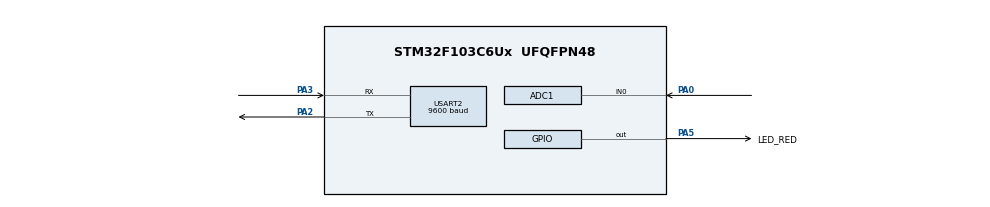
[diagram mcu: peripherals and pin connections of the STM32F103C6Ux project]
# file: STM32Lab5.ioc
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ADC1.Channel-1\#ChannelRegularConversion=ADC_CHANNEL_0
ADC1.ContinuousConvMode=ENABLE
ADC1.NbrOfConversionFlag=1
ADC1.Rank-1\#ChannelRegularConversion=1
ADC1.SamplingTime-1\#ChannelRegularConversion=ADC_SAMPLETIME_1CYCLE_5
ADC1.master=1
ADC2.Channel-1\#ChannelRegularConversion=ADC_CHANNEL_0
ADC2.ContinuousConvMode=ENABLE
ADC2.NbrOfConversionFlag=1
ADC2.Rank-1\#ChannelRegularConversion=1
ADC2.SamplingTime-1\#ChannelRegularConversion=ADC_SAMPLETIME_1CYCLE_5
Mcu.Family=STM32F1
Mcu.Name=STM32F103C6Ux
Mcu.Package=UFQFPN48
NVIC.PriorityGroup=NVIC_PRIORITYGROUP_4
NVIC.TIM2_IRQn=true\:0\:0\:false\:false\:true\:true\:true
NVIC.USART2_IRQn=true\:0\:0\:false\:false\:true\:true\:true
PA0-WKUP.Signal=ADCx_IN0
PA2.Mode=Asynchronous
PA2.Signal=USART2_TX
PA3.Mode=Asynchronous
PA3.Signal=USART2_RX
PA5.GPIO_Label=LED_RED
PA5.Signal=GPIO_Output
ProjectManager.HeapSize=0x200
ProjectManager.StackSize=0x400
ProjectManager.TargetToolchain=STM32CubeIDE
RCC.APB1Freq_Value=8000000
RCC.APB2Freq_Value=8000000
SH.ADCx_IN0.0=ADC1_IN0,IN0
SH.ADCx_IN0.1=ADC2_IN0,IN0
TIM2.Period=9
TIM2.Prescaler=7999
USART2.BaudRate=9600
USART2.VirtualMode=VM_ASYNC
VP_SYS_VS_ND.Mode=No_Debug
VP_TIM2_VS_ClockSourceINT.Mode=Internal
board=custom

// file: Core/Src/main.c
/* USER CODE BEGIN Header */
/**
  ******************************************************************************
  * @file           : main.c
  * @brief          : Main program body
  ******************************************************************************
  * @attention
  *
  * <h2><center>&copy; Copyright (c) 2024 STMicroelectronics.
  * All rights reserved.</center></h2>
  *
  * This software component is licensed by ST under BSD 3-Clause license,
  * the "License"; You may not use this file except in compliance with the
  * License. You may obtain a copy of the License at:
  *                        opensource.org/licenses/BSD-3-Clause
  *
  ******************************************************************************
  */
/* USER CODE END Header */
#include "main.h"

/* USER CODE BEGIN Includes */
#include <stdio.h>
#include "FSM.h"
#include "softwareTimer.h"
/* USER CODE END Includes */

ADC_HandleTypeDef hadc1;
ADC_HandleTypeDef hadc2;

TIM_HandleTypeDef htim2;

UART_HandleTypeDef huart2;

void SystemClock_Config(void);
static void MX_GPIO_Init(void);
static void MX_USART2_UART_Init(void);
static void MX_ADC1_Init(void);
static void MX_TIM2_Init(void);
static void MX_ADC2_Init(void);

int main(void)
{

  /* MCU Configuration--------------------------------------------------------*/

  /* Reset of all peripherals, Initializes the Flash interface and the Systick. */
  HAL_Init();

  /* Configure the system clock */
  SystemClock_Config();

  /* Initialize all configured peripherals */
  MX_GPIO_Init();
  MX_USART2_UART_Init();
  MX_ADC1_Init();
  MX_TIM2_Init();
  MX_ADC2_Init();
  /* USER CODE BEGIN 2 */
  HAL_TIM_Base_Start_IT(&htim2);
  HAL_UART_Receive_IT(&huart2, &temp, 1);
  HAL_ADC_Start(&hadc1);
  /* USER CODE END 2 */

  /* Infinite loop */
  /* USER CODE BEGIN WHILE */

  setTimer0(10);
  setTimer1(50);

  while (1)
  {
	  if (buffer_flag)
	  {
		  command_parser_fsm();
		  buffer_flag = 0;
	  }
	  uart_communication_fsm();
	  if (timer1_flag)
	  {
		  HAL_GPIO_TogglePin(LED_RED_GPIO_Port, LED_RED_Pin);
		  setTimer1(50);
	  }
    /* USER CODE END WHILE */

  }
}

void SystemClock_Config(void)
{
  RCC_OscInitTypeDef RCC_OscInitStruct = {0};
  RCC_ClkInitTypeDef RCC_ClkInitStruct = {0};
  RCC_PeriphCLKInitTypeDef PeriphClkInit = {0};

  /** Initializes the RCC Oscillators according to the specified parameters
  * in the RCC_OscInitTypeDef structure.
  */
  RCC_OscInitStruct.OscillatorType = RCC_OSCILLATORTYPE_HSI;
  RCC_OscInitStruct.HSIState = RCC_HSI_ON;
  RCC_OscInitStruct.HSICalibrationValue = RCC_HSICALIBRATION_DEFAULT;
  RCC_OscInitStruct.PLL.PLLState = RCC_PLL_NONE;
  if (HAL_RCC_OscConfig(&RCC_OscInitStruct) != HAL_OK)
  {
    Error_Handler();
  }
  /** Initializes the CPU, AHB and APB buses clocks
  */
  RCC_ClkInitStruct.ClockType = RCC_CLOCKTYPE_HCLK|RCC_CLOCKTYPE_SYSCLK
                              |RCC_CLOCKTYPE_PCLK1|RCC_CLOCKTYPE_PCLK2;
  RCC_ClkInitStruct.SYSCLKSource = RCC_SYSCLKSOURCE_HSI;
  RCC_ClkInitStruct.AHBCLKDivider = RCC_SYSCLK_DIV1;
  RCC_ClkInitStruct.APB1CLKDivider = RCC_HCLK_DIV1;
  RCC_ClkInitStruct.APB2CLKDivider = RCC_HCLK_DIV1;

  if (HAL_RCC_ClockConfig(&RCC_ClkInitStruct, FLASH_LATENCY_0) != HAL_OK)
  {
    Error_Handler();
  }
  PeriphClkInit.PeriphClockSelection = RCC_PERIPHCLK_ADC;
  PeriphClkInit.AdcClockSelection = RCC_ADCPCLK2_DIV2;
  if (HAL_RCCEx_PeriphCLKConfig(&PeriphClkInit) != HAL_OK)
  {
    Error_Handler();
  }
}

static void MX_ADC1_Init(void)
{

  ADC_ChannelConfTypeDef sConfig = {0};

  /** Common config
  */
  hadc1.Instance = ADC1;
  hadc1.Init.ScanConvMode = ADC_SCAN_DISABLE;
  hadc1.Init.ContinuousConvMode = ENABLE;
  hadc1.Init.DiscontinuousConvMode = DISABLE;
  hadc1.Init.ExternalTrigConv = ADC_SOFTWARE_START;
  hadc1.Init.DataAlign = ADC_DATAALIGN_RIGHT;
  hadc1.Init.NbrOfConversion = 1;
  if (HAL_ADC_Init(&hadc1) != HAL_OK)
  {
    Error_Handler();
  }
  /** Configure Regular Channel
  */
  sConfig.Channel = ADC_CHANNEL_0;
  sConfig.Rank = ADC_REGULAR_RANK_1;
  sConfig.SamplingTime = ADC_SAMPLETIME_1CYCLE_5;
  if (HAL_ADC_ConfigChannel(&hadc1, &sConfig) != HAL_OK)
  {
    Error_Handler();
  }

}

static void MX_ADC2_Init(void)
{

  ADC_ChannelConfTypeDef sConfig = {0};

  /** Common config
  */
  hadc2.Instance = ADC2;
  hadc2.Init.ScanConvMode = ADC_SCAN_DISABLE;
  hadc2.Init.ContinuousConvMode = ENABLE;
  hadc2.Init.DiscontinuousConvMode = DISABLE;
  hadc2.Init.ExternalTrigConv = ADC_SOFTWARE_START;
  hadc2.Init.DataAlign = ADC_DATAALIGN_RIGHT;
  hadc2.Init.NbrOfConversion = 1;
  if (HAL_ADC_Init(&hadc2) != HAL_OK)
  {
    Error_Handler();
  }
  /** Configure Regular Channel
  */
  sConfig.Channel = ADC_CHANNEL_0;
  sConfig.Rank = ADC_REGULAR_RANK_1;
  sConfig.SamplingTime = ADC_SAMPLETIME_1CYCLE_5;
  if (HAL_ADC_ConfigChannel(&hadc2, &sConfig) != HAL_OK)
  {
    Error_Handler();
  }

}

static void MX_TIM2_Init(void)
{

  TIM_ClockConfigTypeDef sClockSourceConfig = {0};
  TIM_MasterConfigTypeDef sMasterConfig = {0};

  htim2.Instance = TIM2;
  htim2.Init.Prescaler = 7999;
  htim2.Init.CounterMode = TIM_COUNTERMODE_UP;
  htim2.Init.Period = 9;
  htim2.Init.ClockDivision = TIM_CLOCKDIVISION_DIV1;
  htim2.Init.AutoReloadPreload = TIM_AUTORELOAD_PRELOAD_DISABLE;
  if (HAL_TIM_Base_Init(&htim2) != HAL_OK)
  {
    Error_Handler();
  }
  sClockSourceConfig.ClockSource = TIM_CLOCKSOURCE_INTERNAL;
  if (HAL_TIM_ConfigClockSource(&htim2, &sClockSourceConfig) != HAL_OK)
  {
    Error_Handler();
  }
  sMasterConfig.MasterOutputTrigger = TIM_TRGO_RESET;
  sMasterConfig.MasterSlaveMode = TIM_MASTERSLAVEMODE_DISABLE;
  if (HAL_TIMEx_MasterConfigSynchronization(&htim2, &sMasterConfig) != HAL_OK)
  {
    Error_Handler();
  }

}

static void MX_USART2_UART_Init(void)
{

  huart2.Instance = USART2;
  huart2.Init.BaudRate = 9600;
  huart2.Init.WordLength = UART_WORDLENGTH_8B;
  huart2.Init.StopBits = UART_STOPBITS_1;
  huart2.Init.Parity = UART_PARITY_NONE;
  huart2.Init.Mode = UART_MODE_TX_RX;
  huart2.Init.HwFlowCtl = UART_HWCONTROL_NONE;
  huart2.Init.OverSampling = UART_OVERSAMPLING_16;
  if (HAL_UART_Init(&huart2) != HAL_OK)
  {
    Error_Handler();
  }

}

static void MX_GPIO_Init(void)
{
  GPIO_InitTypeDef GPIO_InitStruct = {0};

  /* GPIO Ports Clock Enable */
  __HAL_RCC_GPIOA_CLK_ENABLE();

  /*Configure GPIO pin Output Level */
  HAL_GPIO_WritePin(LED_RED_GPIO_Port, LED_RED_Pin, GPIO_PIN_RESET);

  /*Configure GPIO pin : LED_RED_Pin */
  GPIO_InitStruct.Pin = LED_RED_Pin;
  GPIO_InitStruct.Mode = GPIO_MODE_OUTPUT_PP;
  GPIO_InitStruct.Pull = GPIO_NOPULL;
  GPIO_InitStruct.Speed = GPIO_SPEED_FREQ_LOW;
  HAL_GPIO_Init(LED_RED_GPIO_Port, &GPIO_InitStruct);

}

/* USER CODE BEGIN 4 */
void HAL_TIM_PeriodElapsedCallback(TIM_HandleTypeDef *htim){
	timer_run();
}
/* USER CODE END 4 */

void Error_Handler(void)
{
  __disable_irq();
  while (1)
  {
  }
}

/************************ (C) COPYRIGHT STMicroelectronics *****END OF FILE****/
